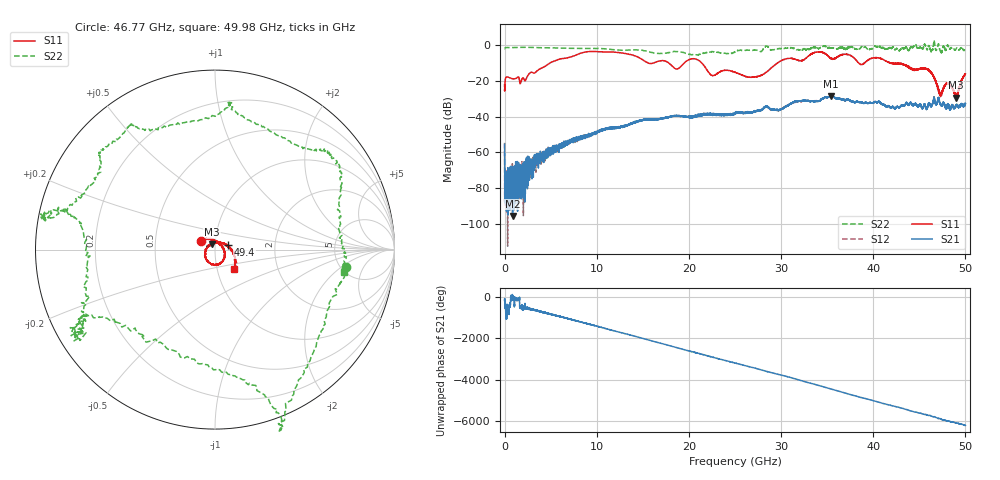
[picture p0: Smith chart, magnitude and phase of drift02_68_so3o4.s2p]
!Created with skrf (http://scikit-rf.org).
# Hz S RI R 50.0
!freq ReS11 ImS11 ReS21 ImS21 ReS12 ImS12 ReS22 ImS22
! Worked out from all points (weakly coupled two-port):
!   10001 points, 300 kHz to 50 GHz, reference 50 ohm
!   highest |S21| = -28.54 dB at 35.37 GHz (marker M1); lowest = -95.5 dB at 860.3 MHz (marker M2)
!   lowest |S11| = -29.5 dB at 48.97 GHz (marker M3), VSWR 1.07, Z = 48.3 + j2.78 ohm
!   |S11| at or under -10 dB: start of sweep to 4.956 GHz; 21.38 GHz to 29.63 GHz (8.246 GHz wide, 32.3 % of centre); 41.87 GHz to end of sweep (the widest 3 of 9)
!   |S22| runs from -5.7 to 2.5 dB; largest |S21 - S12| = 0.0033
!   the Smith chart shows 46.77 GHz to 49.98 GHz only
!   S11 on the Smith chart (normalised r, x): 46.77 GHz: 0.85, +0.08; 49.4 GHz: 1.16, +0.06; 49.98 GHz: 1.20, -0.27
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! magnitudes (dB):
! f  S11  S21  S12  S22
! 300 kHz  -22.2  -55.6  -54.7  -2.1
! 260.3 MHz  -17.9  -82.0  -72.9  -1.4
! 860.3 MHz  -18.9  -95.5  -81.2  -1.5
! 8.335 GHz  -4.5  -51.3  -52.2  -1.9
! 16.67 GHz  -9.1  -41.3  -41.5  -4.7
! 18.7 GHz  -13.5  -39.5  -39.5  -3.7
! 20.6 GHz  -7.7  -40.0  -39.9  -5.7
! 22.51 GHz  -17.1  -38.5  -38.6  -3.7
! 25 GHz  -15.3  -38.5  -38.5  -3.9
! 27.5 GHz  -17.6  -36.7  -36.5  -3.2
! 30.22 GHz  -8.3  -35.2  -35.2  -2.1
! 33.34 GHz  -4.9  -31.4  -31.5  -1.6
! 35.37 GHz  -7.3  -28.5  -28.5  -1.4
! 41.67 GHz  -9.6  -33.9  -34.1  -1.8
! 45.79 GHz  -13.5  -35.3  -35.5  -2.3
! 46.77 GHz  -20.5  -32.9  -33.0  -2.6
! 47.27 GHz  -27.0  -33.0  -33.1  -3.3
! 48.11 GHz  -21.6  -33.4  -33.0  -0.5
! 48.97 GHz  -29.5  -34.2  -34.6  -2.5
! 49.4 GHz  -22.3  -34.2  -34.6  -2.6
! 49.98 GHz  -16.4  -33.2  -32.8  -2.7
! 50 GHz  -16.2  -32.6  -32.5  -2.8
